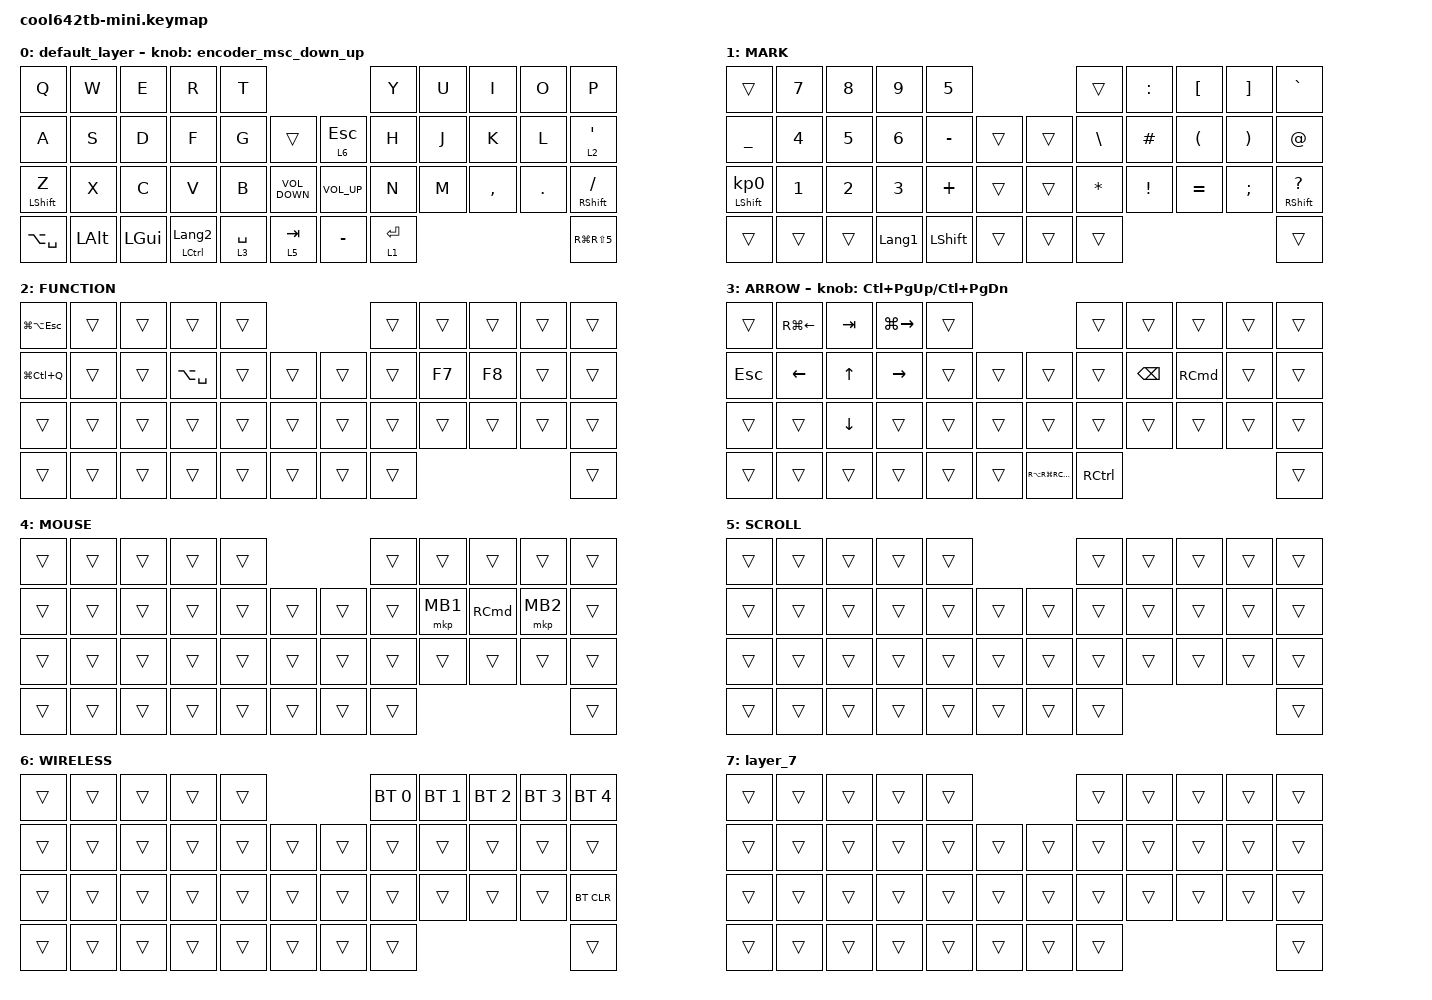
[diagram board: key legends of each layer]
#include <behaviors.dtsi>
#include <dt-bindings/zmk/bt.h>
#include <dt-bindings/zmk/keys.h>
#include <dt-bindings/zmk/pointing.h>

#define MOUSE 4
#define SCROLL 5
#define NUM 6
#define ZMK_POINTING_DEFAULT_SCRL_VAL 80

&mt {
    flavor = "balanced";
    quick-tap-ms = <0>;
};

/ {
    combos {
        compatible = "zmk,combos";

        shift_tab {
            bindings = <&kp LANG2>;
            key-positions = <12 13>;
        };

        lang {
            bindings = <&kp LANG1>;
            key-positions = <18 19>;
        };
    };

    behaviors {
        encoder_msc_down_up: encoder_msc_down_up {
            compatible = "zmk,behavior-sensor-rotate";
            label = "ENCODER_MSC_DOWN_UP";
            #sensor-binding-cells = <0>;
            bindings = <&msc SCRL_UP>, <&msc SCRL_DOWN>;

            tap-ms = <20>;
        };
    };

    keymap {
        compatible = "zmk,keymap";

        default_layer {
            bindings = <
&kp Q             &kp W         &kp E         &kp R                        &kp T                                             &kp Y        &kp U  &kp I      &kp O    &kp P
&kp A             &kp S         &kp D         &kp F                        &kp G        &trans                 &lt 6 ESC     &kp H        &kp J  &kp K      &kp L    &lt 2 SINGLE_QUOTE
&mt LEFT_SHIFT Z  &kp X         &kp C         &kp V                        &kp B        &kp C_VOLUME_DOWN      &kp C_VOL_UP  &kp N        &kp M  &kp COMMA  &kp DOT  &mt RIGHT_SHIFT SLASH
&kp LA(SPACE)     &kp LEFT_ALT  &kp LEFT_GUI  &mt LEFT_CONTROL LANGUAGE_2  &lt 3 SPACE  &lt 5 TAB              &kp MINUS     &lt 1 ENTER                             &kp RG(RS(N5))
            >;

            sensor-bindings = <&encoder_msc_down_up>;
        };

        MARK {
            bindings = <
&trans                &kp N7  &kp N8  &kp N9          &kp N5                              &trans        &kp COLON        &kp LBKT              &kp RBKT               &kp GRAVE
&kp UNDERSCORE        &kp N4  &kp N5  &kp N6          &kp MINUS       &trans      &trans  &kp BSLH      &kp HASH         &kp LEFT_PARENTHESIS  &kp RIGHT_PARENTHESIS  &kp AT_SIGN
&mt LEFT_SHIFT KP_N0  &kp N1  &kp N2  &kp N3          &kp PLUS        &trans      &trans  &kp ASTERISK  &kp EXCLAMATION  &kp EQUAL             &kp SEMICOLON          &mt RIGHT_SHIFT QUESTION
&trans                &trans  &trans  &kp LANGUAGE_1  &kp LEFT_SHIFT  &trans      &trans  &trans                                                                      &trans
            >;
        };

        FUNCTION {
            bindings = <
&kp LG(LA(ESC))  &trans  &trans  &trans         &trans                      &trans  &trans  &trans  &trans  &trans
&kp LG(LC(Q))    &trans  &trans  &kp LA(SPACE)  &trans  &trans      &trans  &trans  &kp F7  &kp F8  &trans  &trans
&trans           &trans  &trans  &trans         &trans  &trans      &trans  &trans  &trans  &trans  &trans  &trans
&trans           &trans  &trans  &trans         &trans  &trans      &trans  &trans                          &trans
            >;
        };

        ARROW {
            bindings = <
&trans      &kp RG(LEFT)  &kp TAB       &kp LG(RIGHT)  &trans                                         &trans             &trans         &trans             &trans  &trans
&kp ESCAPE  &kp LEFT      &kp UP_ARROW  &kp RIGHT      &trans  &trans      &trans                     &trans             &kp BACKSPACE  &kp RIGHT_COMMAND  &trans  &trans
&trans      &trans        &kp DOWN      &trans         &trans  &trans      &trans                     &trans             &trans         &trans             &trans  &trans
&trans      &trans        &trans        &trans         &trans  &trans      &kp RA(RG(RIGHT_CONTROL))  &kp RIGHT_CONTROL                                            &trans
            >;

            sensor-bindings = <&inc_dec_kp LC(PAGE_UP) LC(PAGE_DOWN)>;
        };

        MOUSE {
            bindings = <
&trans  &trans  &trans  &trans  &trans                      &trans  &trans    &trans             &trans    &trans
&trans  &trans  &trans  &trans  &trans  &trans      &trans  &trans  &mkp MB1  &kp RIGHT_COMMAND  &mkp MB2  &trans
&trans  &trans  &trans  &trans  &trans  &trans      &trans  &trans  &trans    &trans             &trans    &trans
&trans  &trans  &trans  &trans  &trans  &trans      &trans  &trans                                         &trans
            >;
        };

        SCROLL {
            bindings = <
&trans  &trans  &trans  &trans  &trans                      &trans  &trans  &trans  &trans  &trans
&trans  &trans  &trans  &trans  &trans  &trans      &trans  &trans  &trans  &trans  &trans  &trans
&trans  &trans  &trans  &trans  &trans  &trans      &trans  &trans  &trans  &trans  &trans  &trans
&trans  &trans  &trans  &trans  &trans  &trans      &trans  &trans                          &trans
            >;
        };

        WIRELESS {
            bindings = <
&trans  &trans  &trans  &trans  &trans                      &bt BT_SEL 0  &bt BT_SEL 1  &bt BT_SEL 2  &bt BT_SEL 3  &bt BT_SEL 4
&trans  &trans  &trans  &trans  &trans  &trans      &trans  &trans        &trans        &trans        &trans        &trans
&trans  &trans  &trans  &trans  &trans  &trans      &trans  &trans        &trans        &trans        &trans        &bt BT_CLR
&trans  &trans  &trans  &trans  &trans  &trans      &trans  &trans                                                  &trans
            >;
        };

        layer_7 {
            bindings = <
&trans  &trans  &trans  &trans  &trans                      &trans  &trans  &trans  &trans  &trans
&trans  &trans  &trans  &trans  &trans  &trans      &trans  &trans  &trans  &trans  &trans  &trans
&trans  &trans  &trans  &trans  &trans  &trans      &trans  &trans  &trans  &trans  &trans  &trans
&trans  &trans  &trans  &trans  &trans  &trans      &trans  &trans                          &trans
            >;
        };
    };
};
